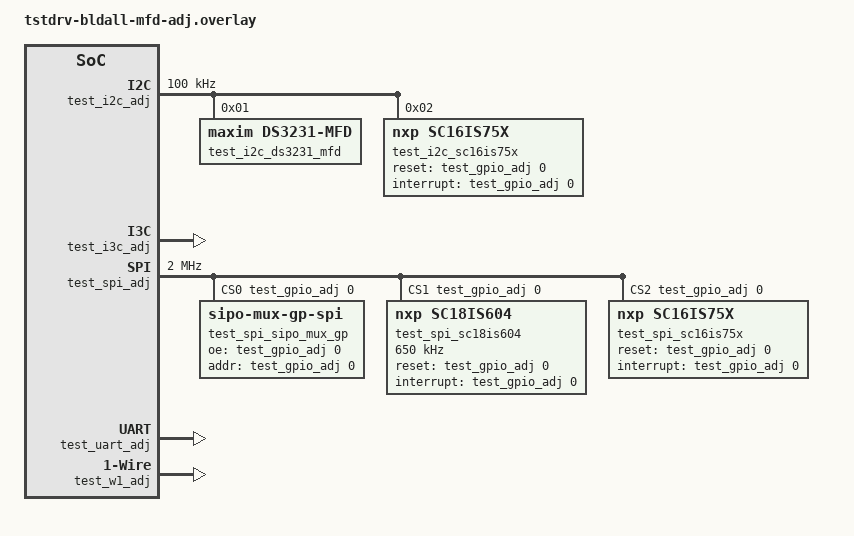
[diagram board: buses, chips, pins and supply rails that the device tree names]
/*
 * Copyright (c) 2024-2025 TiaC Systems
 *
 * SPDX-License-Identifier: Apache-2.0
 *
 * Snipped overlay for testing driver builds
 *
 * Names in this file should be chosen in a way that won't conflict
 * with real-world devicetree nodes, to allow these tests to run on
 * (and be extended to test) real hardware.
 */

#include <freq.h>
#include <zephyr/dt-bindings/i2c/i2c.h>

/ {
	test: test {};
};

&test {
	test_fixed_clk_adj: test-fixed-clk-adj {
		compatible = "fixed-clock";
		status = "okay";
		#clock-cells = <0>;
		clock-frequency = <0>;
	};

	test_gpio_adj: gpio@feedface {
		compatible = "vnd,gpio";
		status = "okay";
		reg = <0xfeedface 0x1000>;
		gpio-controller;
		#gpio-cells = <0x2>;
	};

	test_i2c_adj: i2c@aaaabbbb {
		compatible = "vnd,i2c";
		status = "okay";
		reg = <0xaaaabbbb 0x1000>;
		#address-cells = <1>;
		#size-cells = <0>;
		clock-frequency = <I2C_BITRATE_STANDARD>;

		test_i2c_ds3231_mfd: ds3231-mfd@1 {
			compatible = "maxim,ds3231-mfd";
			status = "okay";
			reg = <0x1>;

			test_i2c_ds3231_rtc: ds3231-rtc {
				compatible = "maxim,ds3231-rtc";
				status = "okay";
				isw-gpios = <&test_gpio_adj 0 0>;
				freq-32khz-gpios = <&test_gpio_adj 0 0>;
			};

			test_i2c_ds3231_sensor: ds3231-sensor {
				compatible = "maxim,ds3231-sensor";
				status = "okay";
			};
		};

		test_i2c_sc16is75x: sc16is75x-i2c@2 {
			compatible = "nxp,sc16is75x";
			status = "okay";
			reg = <0x2>;
			#address-cells = <1>;
			#size-cells = <0>;
			clock = <&test_fixed_clk_adj>;
			reset-gpios = <&test_gpio_adj 0 0>;
			interrupt-gpios = <&test_gpio_adj 0 0>;

			test_i2c_sc16is75x_gpio: sc16is75x-i2c-gpio {
				compatible = "nxp,sc16is75x-gpio";
				status = "okay";
				gpio-controller;
				#gpio-cells = <2>;
				ngpios = <8>;
			};

			test_i2c_sc16is75x_uart_0: sc16is75x-i2c-uart@0 {
				compatible = "nxp,sc16is75x-uart";
				status = "okay";
				reg = <0>;
			};

			test_i2c_sc16is75x_uart_1: sc16is75x-i2c-uart@1 {
				compatible = "nxp,sc16is75x-uart";
				status = "okay";
				reg = <1>;
			};
		};
	};

	test_i3c_adj: i3c@bbbbaaaa {
		compatible = "vnd,i3c";
		status = "okay";
		reg = <0xbbbbaaaa 0x1000>;
		#address-cells = <3>;
		#size-cells = <0>;
	};

	test_spi_adj: spi@ccccdddd {
		compatible = "vnd,spi";
		status = "okay";
		reg = <0xccccdddd 0x1000>;
		#address-cells = <1>;
		#size-cells = <0>;
		clock-frequency = <DT_FREQ_M(2)>;

		/* one entry for every devices */
		cs-gpios = <&test_gpio_adj 0 0>,
			   <&test_gpio_adj 0 0>,
			   <&test_gpio_adj 0 0>;

		test_spi_sipo_mux_gp: sipo-mux-gp@0 {
			compatible = "sipo-mux-gp-spi";
			status = "okay";
			reg = <0x0>;
			spi-max-frequency = <0>;
			refresh-time-us = <500>;
			#address-cells = <1>;
			#size-cells = <0>;
			shift-width = <32>;
			data-width = <32>;
			oe-gpios = <&test_gpio_adj 0 0>;
			addr-gpios = <&test_gpio_adj 0 0>;

			test_spi_sipo_mux_gpio_0: sipo-mux-gpio@0 {
				compatible = "sipo-mux-gpio";
				status = "okay";
				reg = <0>;
				gpio-controller;
				#gpio-cells = <2>;
				ngpios = <32>;
				offset = <0>;
			};

			test_spi_sipo_mux_gpio_1: sipo-mux-gpio@1 {
				compatible = "sipo-mux-gpio";
				status = "okay";
				reg = <1>;
				gpio-controller;
				#gpio-cells = <2>;
				ngpios = <32>;
				offset = <32>;
			};
		};

		test_spi_sc18is604: sc18is604-spi@1 {
			compatible = "nxp,sc18is604";
			status = "okay";
			reg = <0x1>;
			spi-max-frequency = <DT_FREQ_K(650)>;
			reset-gpios = <&test_gpio_adj 0 0>;
			interrupt-gpios = <&test_gpio_adj 0 0>;

			test_spi_sc18is604_gpio: sc18is604-spi-gpio {
				compatible = "nxp,sc18is604-gpio";
				status = "okay";
				gpio-controller;
				#gpio-cells = <2>;
				ngpios = <5>;
			};

			test_spi_sc18is604_i2c: sc18is604-spi-i2c {
				compatible = "nxp,sc18is604-i2c";
				status = "okay";
				#address-cells = <1>;
				#size-cells = <0>;
				clock-frequency = <I2C_BITRATE_STANDARD>;
			};
		};

		test_spi_sc16is75x: sc16is75x-spi@2 {
			compatible = "nxp,sc16is75x";
			status = "okay";
			reg = <0x2>;
			spi-max-frequency = <0>;
			#address-cells = <1>;
			#size-cells = <0>;
			clock = <&test_fixed_clk_adj>;
			reset-gpios = <&test_gpio_adj 0 0>;
			interrupt-gpios = <&test_gpio_adj 0 0>;

			test_spi_sc16is75x_gpio: sc16is75x-spi-gpio {
				compatible = "nxp,sc16is75x-gpio";
				status = "okay";
				gpio-controller;
				#gpio-cells = <2>;
				ngpios = <8>;
			};

			test_spi_sc16is75x_uart_0: sc16is75x-spi-uart@0 {
				compatible = "nxp,sc16is75x-uart";
				status = "okay";
				reg = <0>;
			};

			test_spi_sc16is75x_uart_1: sc16is75x-spi-uart@1 {
				compatible = "nxp,sc16is75x-uart";
				status = "okay";
				reg = <1>;
			};
		};
	};

	test_uart_adj: uart@eeeeffff {
		compatible = "vnd,serial";
		status = "okay";
		reg = <0xeeeeffff 0x1000>;
	};

	test_w1_adj: w1@ffffeeee {
		compatible = "vnd,w1";
		status = "okay";
		reg = <0xffffeeee 0x1000>;
		#address-cells = <1>;
		#size-cells = <0>;
		ranges = <0 0>;
	};
};
